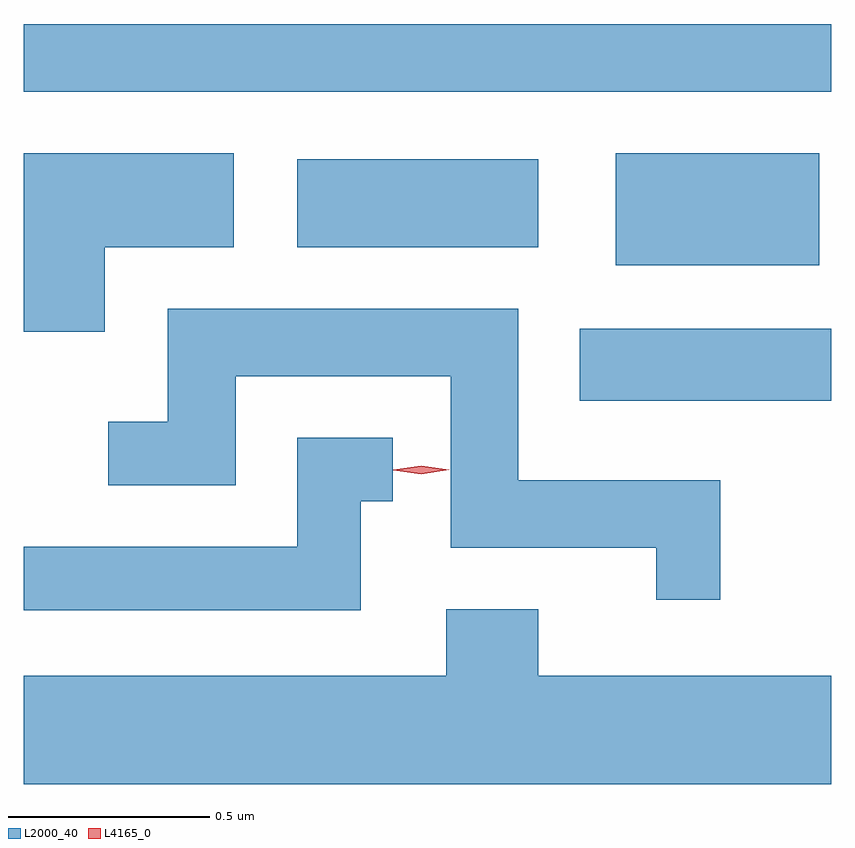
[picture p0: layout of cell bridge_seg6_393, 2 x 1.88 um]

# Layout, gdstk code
import gdstk
lib = gdstk.Library(unit=1e-6, precision=1e-09)
def R(c, l, rs):  # rectangles x0, y0, x1, y1
    for r in rs: c.add(gdstk.rectangle(r[:2], r[2:], *l))
def P(c, l, *ps):  # polygons
    for p in ps: c.add(gdstk.Polygon(p, *l))
L2000_40 = (2000, 40)
L4165_0 = (4165, 0)

bridge_seg6_393 = lib.new_cell('bridge_seg6_393')
R(bridge_seg6_393, L2000_40, [(943.801,1617.586,944.424,1617.764), (943.891,1617.921,944.394,1618.199), (943.101,1617.966,943.699,1618.184), (942.424,1618.351,944.424,1618.519)])
P(bridge_seg6_393, L2000_40, [(942.624,1617.966),(942.944,1617.966),(942.944,1618.199),(942.424,1618.199),(942.424,1617.756),(942.624,1617.756)],
  [(944.149,1617.389),(943.649,1617.389),(943.649,1617.814),(942.781,1617.814),(942.781,1617.534),(942.633,1617.534),(942.633,1617.376),(942.949,1617.376),(942.949,1617.646),(943.481,1617.646),(943.481,1617.221),(943.991,1617.221),(943.991,1617.093),(944.149,1617.093)],
  [(943.259,1617.336),(943.338,1617.336),(943.338,1617.494),(943.101,1617.494),(943.101,1617.224),(942.424,1617.224),(942.424,1617.066),(943.259,1617.066)],
  [(944.424,1616.904),(943.699,1616.904),(943.699,1617.069),(943.471,1617.069),(943.471,1616.904),(942.424,1616.904),(942.424,1616.636),(944.424,1616.636)])
P(bridge_seg6_393, L4165_0, [(943.408,1617.404),(943.339,1617.413),(943.339,1617.414),(943.339,1617.414),(943.408,1617.424),(943.478,1617.415),(943.478,1617.414),(943.478,1617.414)])

lib.write_gds('bridge_seg6_393.gds')
